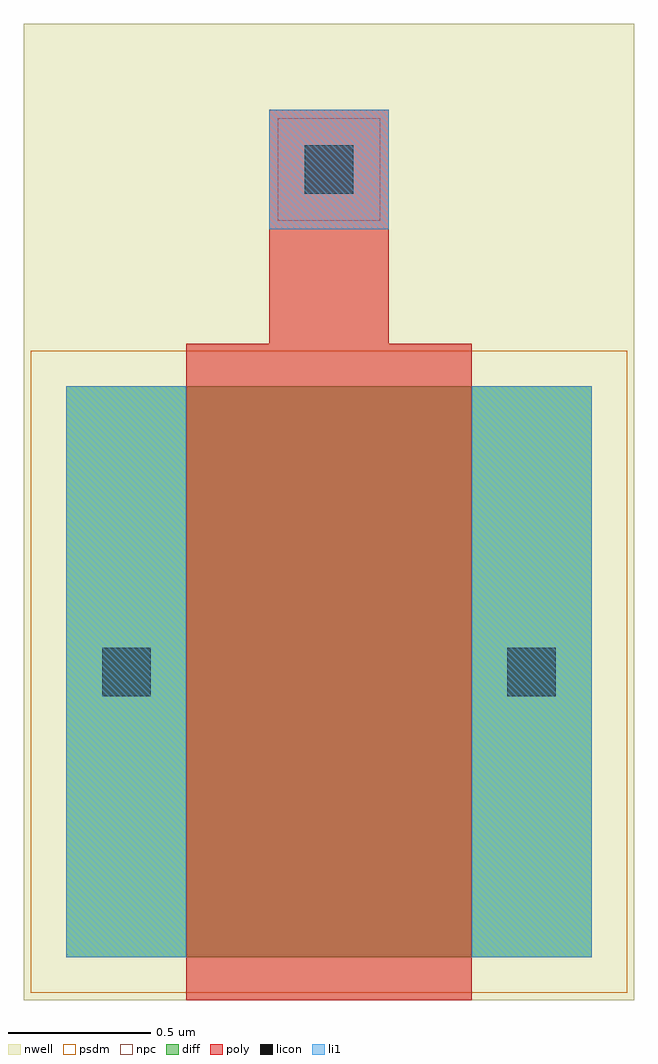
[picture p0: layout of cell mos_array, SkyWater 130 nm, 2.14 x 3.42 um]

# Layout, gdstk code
import gdstk
lib = gdstk.Library(unit=1e-6, precision=1e-09)
def R(c, l, rs):  # rectangles x0, y0, x1, y1
    for r in rs: c.add(gdstk.rectangle(r[:2], r[2:], *l))
nwell = (64, 20)
diff = (65, 20)
poly = (66, 20)
licon = (66, 44)
li1 = (67, 20)
psdm = (94, 20)
npc = (95, 20)

mos_array = lib.new_cell('mos_array')
R(mos_array, nwell, [(-0.15,-0.15,1.99,3.27)])
R(mos_array, diff, [(0,0,1.84,2)])
R(mos_array, poly, [(0.42,-0.15,1.42,2), (0.42,2,1.42,2.15), (0.42,2,1.42,2.15), (0.71,2.15,1.13,2.97)])
R(mos_array, licon, [(0.125,0.915,0.295,1.085), (1.545,0.915,1.715,1.085), (0.835,2.675,1.005,2.845)])
R(mos_array, li1, [(0,0,0.42,2), (1.42,0,1.84,2), (0.71,2.55,1.13,2.97)])
R(mos_array, psdm, [(-0.125,-0.125,1.965,2.125)])
R(mos_array, npc, [(0.74,2.58,1.1,2.94)])

lib.write_gds('mos_array.gds')
